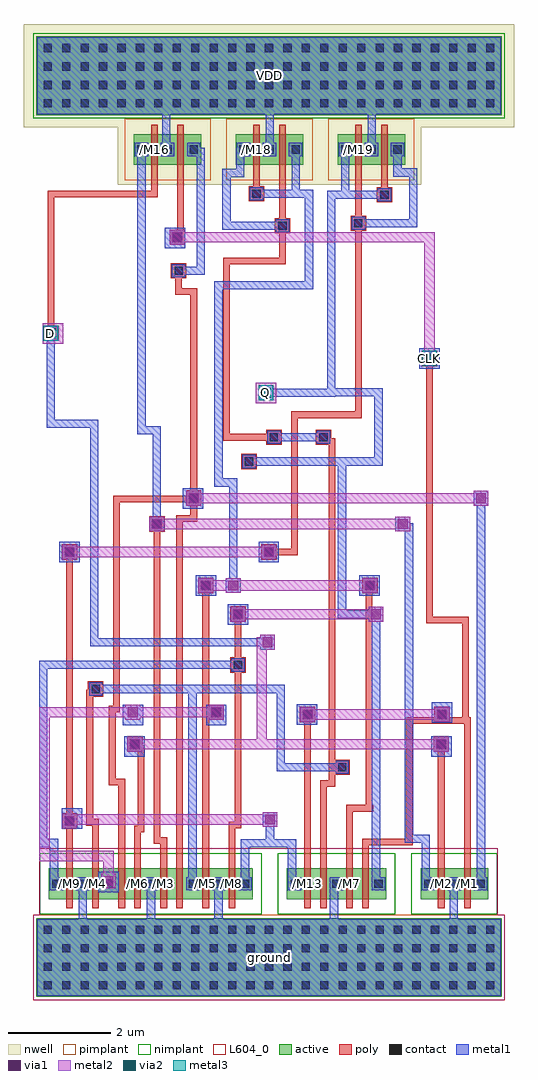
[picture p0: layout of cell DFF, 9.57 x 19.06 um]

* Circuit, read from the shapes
.subckt DFF CLK D Q VDD ground
M1 ground n1 Q ground nfet w=0.6u l=0.13u
M2 n2 n3 ground ground nfet w=0.6u l=0.13u
M3 n4 n5 n2 ground nfet w=0.6u l=0.13u
M4 ground D n4 ground nfet w=0.6u l=0.13u
M5 n6 n7 ground ground nfet w=0.6u l=0.13u
M6 n3 n5 n6 ground nfet w=0.6u l=0.13u
M7 ground n2 n3 ground nfet w=0.6u l=0.13u
M8 n1 Q ground ground nfet w=0.6u l=0.13u
M9 n8 CLK n1 ground nfet w=0.6u l=0.13u
M10 ground n3 n8 ground nfet w=0.6u l=0.13u
M11 n9 n2 ground ground nfet w=0.6u l=0.13u
M12 Q CLK n9 ground nfet w=0.6u l=0.13u
M13 ground D n7 ground nfet w=0.6u l=0.13u
M14 n5 CLK ground ground nfet w=0.6u l=0.13u
M15 VDD D n7 VDD pfet w=0.6u l=0.13u
M16 n5 CLK VDD VDD pfet w=0.6u l=0.13u
M17 VDD n2 n3 VDD pfet w=0.6u l=0.13u
M18 n2 n3 VDD VDD pfet w=0.6u l=0.13u
M19 VDD n1 Q VDD pfet w=0.6u l=0.13u
M20 n1 Q VDD VDD pfet w=0.6u l=0.13u
.ends

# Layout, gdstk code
import gdstk
lib = gdstk.Library(unit=1e-6, precision=1e-09)
def R(c, l, rs):  # rectangles x0, y0, x1, y1
    for r in rs: c.add(gdstk.rectangle(r[:2], r[2:], *l))
def A(c, l, x, y, w, h, nx, ny, dx, dy):  # array of equal rectangles
    R(c, l, [(x+i*dx, y+j*dy, x+i*dx+w, y+j*dy+h) for i in range(nx) for j in range(ny)])
def P(c, l, *ps):  # polygons
    for p in ps: c.add(gdstk.Polygon(p, *l))
nwell = (3, 0)
active = (6, 0)
poly = (17, 0)
pimplant = (25, 0)
nimplant = (26, 0)
contact = (30, 0)
metal1 = (31, 0)
metal2 = (32, 0)
metal3 = (33, 0)
via1 = (51, 0)
via2 = (52, 0)
L604_0 = (604, 0)

poly_m1 = lib.new_cell('POLY_M1')
R(poly_m1, poly, [(-0.15,-0.15,0.15,0.15)])
R(poly_m1, contact, [(-0.08,-0.08,0.08,0.08)])
R(poly_m1, metal1, [(-0.13,-0.13,0.13,0.13)])

m1m2 = lib.new_cell('M1M2')
R(m1m2, metal1, [(-0.145,-0.145,0.145,0.145)])
R(m1m2, metal2, [(-0.145,-0.145,0.145,0.145)])
R(m1m2, via1, [(-0.095,-0.095,0.095,0.095)])

m2m3 = lib.new_cell('M2M3')
R(m2m3, metal2, [(-0.145,-0.145,0.145,0.145)])
R(m2m3, metal3, [(-0.145,-0.145,0.145,0.145)])
R(m2m3, via2, [(-0.095,-0.095,0.095,0.095)])

dff = lib.new_cell('DFF')
R(dff, nwell, [(-1.725,103.125,4.195,104.505), (-3.56,104.245,6.01,106.265)])
A(dff, active, -1.415, 103.515, 1.32, 0.6, 3, 1, 1.99, 0)
R(dff, active, [(-3.32,87.265,5.77,88.805), (-3.075,89.175,0.905,89.775), (1.575,89.175,3.515,89.775), (4.185,89.175,5.505,89.775), (-3.32,104.485,5.77,106.025)])
A(dff, poly, -2.735, 88.995, 0.13, 0.18, 3, 2, 0.51, 0.78)
A(dff, poly, -0.585, 88.995, 0.13, 0.18, 3, 2, 0.51, 0.78)
A(dff, poly, -2.735, 89.175, 0.13, 0.6, 3, 1, 0.51, 0)
A(dff, poly, -0.585, 89.175, 0.13, 0.6, 3, 1, 0.51, 0)
R(dff, poly, [(-1.405,88.995,-1.275,89.175), (-0.895,88.995,-0.765,89.175), (1.915,88.995,2.045,89.175), (2.225,88.995,2.355,89.175), (2.735,88.995,2.865,89.175), (3.045,88.995,3.175,89.175), (4.525,88.995,4.655,89.175), (5.035,88.995,5.165,89.175), (-1.405,89.175,-1.275,89.775), (-0.895,89.175,-0.765,89.775), (1.915,89.175,2.045,89.775), (2.225,89.175,2.355,89.775), (2.735,89.175,2.865,89.775), (3.045,89.175,3.175,89.775), (4.525,89.175,4.655,89.775), (5.035,89.175,5.165,89.775), (-1.405,89.775,-1.275,89.955), (-0.895,89.775,-0.765,89.955), (1.915,89.775,2.045,89.955), (2.225,89.775,2.355,89.955), (2.735,89.775,2.865,89.955), (3.045,89.775,3.175,89.955), (4.525,89.775,4.655,89.955), (5.035,89.775,5.165,89.955), (-2.735,89.825,-2.605,90.765), (-0.075,89.825,0.055,90.335), (1.915,89.825,2.045,92.845), (4.525,89.825,4.655,92.265), (-0.075,90.205,0.055,95.365), (-2.735,90.635,-2.605,96.02), (3.115,90.885,3.26,91.015), (0.555,93.685,0.685,94.805), (3.13,95.235,3.29,95.365), (1.16,95.89,1.785,96.02), (1.425,102.26,1.555,103.465), (2.905,102.31,3.035,103.465), (3.415,102.865,3.545,103.465), (0.915,102.885,1.045,103.465), (-1.075,103.335,-0.945,103.515), (-0.565,103.335,-0.435,103.515), (0.915,103.335,1.045,103.515), (1.425,103.335,1.555,103.515), (2.905,103.335,3.035,103.515), (3.415,103.335,3.545,103.515), (-1.075,103.515,-0.945,104.115), (-0.565,103.515,-0.435,104.115), (0.915,103.515,1.045,104.115), (1.425,103.515,1.555,104.115), (2.905,103.515,3.035,104.115), (3.415,103.515,3.545,104.115), (-1.075,104.115,-0.945,104.295), (-0.565,104.115,-0.435,104.295), (0.915,104.115,1.045,104.295), (1.425,104.115,1.555,104.295), (2.905,104.115,3.035,104.295), (3.415,104.115,3.545,104.295)])
P(dff, poly, [(1.655,95.89),(1.785,95.89),(1.785,98.57),(3.035,98.57),(3.035,102.44),(2.905,102.44),(2.905,98.7),(1.655,98.7)],
  [(0.33,98.13),(1.385,98.13),(1.385,98.26),(0.46,98.26),(0.46,101.575),(1.555,101.575),(1.555,102.39),(1.425,102.39),(1.425,101.705),(0.33,101.705)],
  [(4.295,94.56),(5,94.56),(5,92.6),(5.13,92.6),(5.13,94.69),(4.425,94.69),(4.425,99.8),(4.295,99.8)],
  [(3.115,90.885),(3.245,90.885),(3.245,95.235),(3.26,95.235),(3.26,95.365),(3.115,95.365)],
  [(-3.1,100.16),(-2.97,100.16),(-2.97,102.88),(-0.945,102.88),(-0.945,103.465),(-1.075,103.465),(-1.075,103.01),(-3.1,103.01)],
  [(-0.63,102.035),(-0.435,102.035),(-0.435,103.465),(-0.565,103.465),(-0.565,102.165),(-0.63,102.165)],
  [(-0.585,89.825),(-0.455,89.825),(-0.455,96.545),(-0.18,96.545),(-0.18,96.675),(-0.585,96.675)],
  [(-1.46,92.05),(-1.34,92.05),(-1.34,90.61),(-1.405,90.61),(-1.405,89.825),(-1.275,89.825),(-1.275,90.48),(-1.21,90.48),(-1.21,92.18),(-1.46,92.18)],
  [(-1.03,90.255),(-0.895,90.255),(-0.895,89.825),(-0.765,89.825),(-0.765,90.385),(-0.9,90.385),(-0.9,96.565),(-1.03,96.565)],
  [(2.735,89.825),(2.865,89.825),(2.865,90.885),(3.245,90.885),(3.245,91.015),(2.735,91.015)],
  [(-2.34,90.61),(-2.225,90.61),(-2.225,89.825),(-2.095,89.825),(-2.095,90.74),(-2.21,90.74),(-2.21,93.13),(-2.095,93.13),(-2.095,93.26),(-2.34,93.26)],
  [(0.435,89.825),(0.565,89.825),(0.565,90.56),(0.685,90.56),(0.685,93.815),(0.555,93.815),(0.555,90.69),(0.435,90.69)],
  [(3.045,89.825),(3.175,89.825),(3.175,90.225),(4.035,90.225),(4.035,92.6),(5.035,92.6),(5.035,89.825),(5.165,89.825),(5.165,92.73),(3.905,92.73),(3.905,90.355),(3.045,90.355)],
  [(2.225,89.825),(2.355,89.825),(2.355,91.37),(2.52,91.37),(2.52,98.175),(2.225,98.175),(2.225,98.045),(2.39,98.045),(2.39,91.5),(2.225,91.5)],
  [(-0.605,100.975),(-0.31,100.975),(-0.31,96.545),(-0.18,96.545),(-0.18,101.105),(-0.475,101.105),(-0.475,101.51),(-0.605,101.51)],
  [(-1.9,91.395),(-1.715,91.395),(-1.715,89.825),(-1.585,89.825),(-1.585,91.525),(-1.77,91.525),(-1.77,92.825),(-1.685,92.825),(-1.685,96.925),(-0.18,96.925),(-0.18,97.055),(-1.815,97.055),(-1.815,92.955),(-1.9,92.955)])
A(dff, pimplant, -1.595, 103.215, 1.68, 1.2, 3, 1, 1.99, 0)
R(dff, pimplant, [(-3.38,87.205,5.83,88.865)])
R(dff, nimplant, [(-3.255,88.875,1.085,90.075), (1.395,88.875,3.695,90.075), (4.005,88.875,5.685,90.075), (-3.38,104.425,5.83,106.085)])
A(dff, contact, -3.175, 87.415, 0.16, 0.16, 25, 4, 0.36, 0.36)
A(dff, contact, -3.005, 89.395, 0.16, 0.16, 3, 1, 0.51, 0)
A(dff, contact, -0.345, 89.395, 0.16, 0.16, 3, 1, 0.51, 0)
A(dff, contact, 1.645, 89.395, 0.16, 0.16, 3, 1, 0.82, 0)
A(dff, contact, 4.255, 89.395, 0.16, 0.16, 3, 1, 0.51, 0)
A(dff, contact, -1.345, 103.735, 0.16, 0.16, 3, 1, 0.51, 0)
A(dff, contact, 0.645, 103.735, 0.16, 0.16, 3, 1, 0.51, 0)
A(dff, contact, 2.635, 103.735, 0.16, 0.16, 3, 1, 0.51, 0)
A(dff, contact, -3.175, 104.635, 0.16, 0.16, 25, 4, 0.36, 0.36)
R(dff, contact, [(-1.165,89.395,-1.005,89.555)])
A(dff, metal1, -3.055, 89.345, 0.26, 0.26, 3, 1, 0.51, 0)
A(dff, metal1, -0.395, 89.345, 0.26, 0.26, 3, 1, 0.51, 0)
A(dff, metal1, 1.595, 89.345, 0.26, 0.26, 3, 1, 0.82, 0)
A(dff, metal1, 4.205, 89.345, 0.26, 0.26, 3, 1, 0.51, 0)
A(dff, metal1, -1.395, 103.685, 0.26, 0.26, 3, 1, 0.51, 0)
A(dff, metal1, 0.595, 103.685, 0.26, 0.26, 3, 1, 0.51, 0)
A(dff, metal1, 2.585, 103.685, 0.26, 0.26, 3, 1, 0.51, 0)
R(dff, metal1, [(-3.3,87.285,5.75,88.785), (-3.3,87.285,5.75,88.785), (-2.495,88.625,-2.335,89.505), (-1.16,88.625,-1,89.505), (0.16,88.625,0.32,89.505), (2.415,88.625,2.575,89.505), (4.75,88.625,4.91,89.505), (-2.105,89.305,-1.705,89.705), (-1.215,89.345,-0.955,89.605), (-1.99,89.445,-1.83,89.61), (-0.35,89.445,-0.19,93.36), (5.285,89.445,5.445,97.085), (1.165,90.185,1.325,90.81), (-2.825,90.545,-2.425,90.945), (-1.605,91.955,-1.205,92.355), (4.395,91.955,4.795,92.355), (-1.635,92.57,-1.235,92.97), (-0.005,92.57,0.395,92.97), (1.77,92.58,2.17,92.98), (4.405,92.62,4.805,93.02), (-2.24,93.2,-0.19,93.36), (0.42,94.535,0.82,94.935), (-0.21,95.1,0.19,95.5), (2.99,95.1,3.39,95.5), (-2.875,95.75,-2.475,96.15), (1.02,95.75,1.42,96.15), (-0.455,96.8,-0.055,97.2), (0.755,97.64,2.73,97.8), (1.24,98.115,2.37,98.275), (4.155,99.535,4.555,99.935), (-0.815,101.885,-0.415,102.285), (0.315,102.245,1.57,102.405), (2.635,102.85,2.795,103.02), (2.635,102.85,3.56,103.01), (2.635,102.86,2.795,103.845), (0.9,102.87,1.825,103.03), (1.665,102.87,1.825,103.845), (-0.86,103.785,-0.7,104.665), (1.16,103.785,1.32,104.665), (3.15,103.785,3.31,104.665), (-3.3,104.505,5.75,106.005), (-3.3,104.505,5.75,106.005)])
P(dff, metal1, [(-3.115,98.38),(-2.27,98.38),(-2.27,94.11),(1.275,94.11),(1.275,94.27),(-2.11,94.27),(-2.11,98.54),(-2.955,98.54),(-2.955,100.305),(-3.115,100.305)],
  [(2.89,102.295),(4.125,102.295),(4.125,103.445),(3.815,103.445),(3.815,103.845),(3.655,103.845),(3.655,103.285),(3.965,103.285),(3.965,102.455),(2.89,102.455)],
  [(0.675,89.445),(0.835,89.445),(0.835,90.185),(1.325,90.185),(1.325,90.345),(0.675,90.345)],
  [(1.085,98.985),(2.52,98.985),(2.52,99.155),(2.36,99.155),(2.36,99.145),(1.085,99.145)],
  [(2.36,98.995),(2.52,98.995),(2.52,102.85),(2.795,102.85),(2.795,103.01),(2.36,103.01)],
  [(2.57,94.66),(3.235,94.66),(3.235,89.445),(3.395,89.445),(3.395,94.82),(2.73,94.82),(2.73,97.8),(2.57,97.8)],
  [(3.755,96.355),(3.88,96.355),(3.88,90.275),(4.205,90.275),(4.205,89.445),(4.365,89.445),(4.365,90.435),(4.04,90.435),(4.04,96.515),(3.755,96.515)],
  [(0.315,102.245),(0.475,102.245),(0.475,103.275),(0.745,103.275),(0.745,103.685),(0.755,103.685),(0.755,103.845),(0.585,103.845),(0.585,103.435),(0.315,103.435)],
  [(-0.62,101.365),(-0.03,101.365),(-0.03,103.845),(-0.275,103.845),(-0.275,103.685),(-0.19,103.685),(-0.19,101.525),(-0.62,101.525)],
  [(1.165,90.185),(1.595,90.185),(1.595,89.445),(1.755,89.445),(1.755,90.345),(1.165,90.345)],
  [(2.36,98.995),(3.285,98.995),(3.285,97.8),(2.57,97.8),(2.57,97.64),(3.445,97.64),(3.445,99.155),(2.36,99.155)],
  [(-3.265,90.19),(-3.055,90.19),(-3.055,89.445),(-2.895,89.445),(-2.895,90.35),(-3.105,90.35),(-3.105,93.67),(0.7,93.67),(0.7,93.83),(-3.265,93.83)],
  [(-0.35,93.2),(1.375,93.2),(1.375,91.67),(2.735,91.67),(2.735,91.83),(1.535,91.83),(1.535,93.36),(-0.35,93.36)],
  [(0.16,97.23),(0.445,97.23),(0.445,95.22),(0.605,95.22),(0.605,97.39),(0.32,97.39),(0.32,101.085),(2.085,101.085),(2.085,103.03),(1.665,103.03),(1.665,102.87),(1.925,102.87),(1.925,101.245),(0.16,101.245)],
  [(-1.345,98.25),(-1.045,98.25),(-1.045,96.42),(-0.885,96.42),(-0.885,98.41),(-1.185,98.41),(-1.185,103.845),(-1.345,103.845)])
R(dff, metal2, [(-1.495,92.1,1.185,92.3), (0.985,92.1,4.69,92.3), (1.88,92.68,4.705,92.88), (0.52,94.64,3.415,94.84), (-0.11,95.2,0.625,95.4), (0.425,95.2,3.295,95.4), (-2.77,95.855,1.325,96.055), (-1.065,96.4,3.935,96.6), (-0.345,96.905,5.465,97.105), (0.965,98.86,1.365,99.26), (-3.19,100.02,-2.79,100.42)])
P(dff, metal2, [(-0.665,102),(4.26,102),(4.26,99.635),(4.46,99.635),(4.46,102.2),(-0.665,102.2)],
  [(-3.26,89.915),(-2.01,89.915),(-2.01,89.43),(-1.81,89.43),(-1.81,90.115),(-3.06,90.115),(-3.06,92.725),(0.295,92.725),(0.295,92.925),(-3.26,92.925)],
  [(0.985,92.1),(1.185,92.1),(1.185,94.09),(1.295,94.09),(1.295,94.29),(0.985,94.29)],
  [(-2.77,90.6),(-2.57,90.6),(-2.57,90.63),(1.345,90.63),(1.345,90.83),(-2.77,90.83)])
R(dff, metal3, [(1.065,98.965,1.265,99.165), (4.26,99.635,4.46,99.835), (-3.135,100.125,-2.935,100.325)])
R(dff, L604_0, [(-3.38,87.205,5.83,88.865), (-3.265,88.785,5.695,90.165)])
dff.add(gdstk.Reference(poly_m1, (0.98,102.95)))
dff.add(gdstk.Reference(poly_m1, (3.48,102.93)))
dff.add(gdstk.Reference(poly_m1, (2.97,102.375)))
dff.add(gdstk.Reference(poly_m1, (1.49,102.325)))
dff.add(gdstk.Reference(m1m2, (1.165,99.065)))
dff.add(gdstk.Reference(m2m3, (1.165,99.065)))
dff.add(gdstk.Reference(poly_m1, (-0.245,97.005)))
dff.add(gdstk.Reference(m1m2, (5.365,97.005)))
dff.add(gdstk.Reference(m1m2, (-0.245,97.005)))
dff.add(gdstk.Reference(poly_m1, (4.36,99.735)))
dff.add(gdstk.Reference(m1m2, (4.36,99.735)))
dff.add(gdstk.Reference(m2m3, (4.36,99.735)))
dff.add(gdstk.Reference(poly_m1, (0.835,97.72)))
dff.add(gdstk.Reference(poly_m1, (2.29,98.195)))
dff.add(gdstk.Reference(poly_m1, (1.32,98.195)))
dff.add(gdstk.Reference(m1m2, (-0.565,102.1)))
dff.add(gdstk.Reference(m1m2, (0.62,94.74)))
dff.add(gdstk.Reference(poly_m1, (-0.565,102.1)))
dff.add(gdstk.Reference(poly_m1, (-3.035,100.225)))
dff.add(gdstk.Reference(m1m2, (-3.035,100.225)))
dff.add(gdstk.Reference(m2m3, (-3.035,100.225)))
dff.add(gdstk.Reference(poly_m1, (-0.54,101.445)))
dff.add(gdstk.Reference(poly_m1, (-0.965,96.5)))
dff.add(gdstk.Reference(m1m2, (-0.965,96.5)))
dff.add(gdstk.Reference(m1m2, (3.835,96.5)))
dff.add(gdstk.Reference(poly_m1, (1.225,95.955)))
dff.add(gdstk.Reference(m1m2, (1.225,95.955)))
dff.add(gdstk.Reference(poly_m1, (-2.67,95.955)))
dff.add(gdstk.Reference(m1m2, (-2.67,95.955)))
dff.add(gdstk.Reference(poly_m1, (4.59,92.2)))
dff.add(gdstk.Reference(m1m2, (4.59,92.2)))
dff.add(gdstk.Reference(poly_m1, (-1.395,92.2)))
dff.add(gdstk.Reference(m1m2, (-1.395,92.2)))
dff.add(gdstk.Reference(m1m2, (-0.01,95.3)))
dff.add(gdstk.Reference(poly_m1, (-0.01,95.3)))
dff.add(gdstk.Reference(poly_m1, (3.195,95.3)))
dff.add(gdstk.Reference(m1m2, (3.195,95.3)))
dff.add(gdstk.Reference(m1m2, (3.315,94.74)))
dff.add(gdstk.Reference(poly_m1, (0.62,94.74)))
dff.add(gdstk.Reference(m1m2, (1.245,90.73)))
dff.add(gdstk.Reference(poly_m1, (-2.67,90.7)))
dff.add(gdstk.Reference(m1m2, (-2.67,90.7)))
dff.add(gdstk.Reference(poly_m1, (1.98,92.78)))
dff.add(gdstk.Reference(m1m2, (1.98,92.78)))
dff.add(gdstk.Reference(poly_m1, (4.605,92.78)))
dff.add(gdstk.Reference(m1m2, (4.605,92.78)))
dff.add(gdstk.Reference(poly_m1, (2.655,91.75)))
dff.add(gdstk.Reference(poly_m1, (0.62,93.75)))
dff.add(gdstk.Reference(poly_m1, (-2.16,93.28)))
dff.add(gdstk.Reference(m1m2, (-1.435,92.825)))
dff.add(gdstk.Reference(poly_m1, (0.195,92.825)))
dff.add(gdstk.Reference(m1m2, (0.195,92.825)))
dff.add(gdstk.Reference(m1m2, (-1.91,89.53)))
dff.add(gdstk.Reference(m1m2, (1.195,94.19)))
dff.add(gdstk.Reference(m1m2, (0.525,95.3)))
dff.add(gdstk.Label('/M16', (-1.01,103.815), layer=17, texttype=0))
dff.add(gdstk.Label('/M15', (-0.5,103.815), layer=17, texttype=0))
dff.add(gdstk.Label('/M18', (0.98,103.815), layer=17, texttype=0))
dff.add(gdstk.Label('/M17', (1.49,103.815), layer=17, texttype=0))
dff.add(gdstk.Label('/M19', (2.97,103.815), layer=17, texttype=0))
dff.add(gdstk.Label('/M20', (3.48,103.815), layer=17, texttype=0))
dff.add(gdstk.Label('/M9', (-2.67,89.475), layer=17, texttype=0))
dff.add(gdstk.Label('/M4', (-2.16,89.475), layer=17, texttype=0))
dff.add(gdstk.Label('/M12', (-1.65,89.475), layer=17, texttype=0))
dff.add(gdstk.Label('/M6', (-1.34,89.475), layer=17, texttype=0))
dff.add(gdstk.Label('/M3', (-0.83,89.475), layer=17, texttype=0))
dff.add(gdstk.Label('/M11', (-0.52,89.475), layer=17, texttype=0))
dff.add(gdstk.Label('/M5', (-0.01,89.475), layer=17, texttype=0))
dff.add(gdstk.Label('/M8', (0.5,89.475), layer=17, texttype=0))
dff.add(gdstk.Label('/M13', (1.98,89.475), layer=17, texttype=0))
dff.add(gdstk.Label('/M10', (2.29,89.475), layer=17, texttype=0))
dff.add(gdstk.Label('/M7', (2.8,89.475), layer=17, texttype=0))
dff.add(gdstk.Label('/M14', (3.11,89.475), layer=17, texttype=0))
dff.add(gdstk.Label('/M2', (4.59,89.475), layer=17, texttype=0))
dff.add(gdstk.Label('/M1', (5.1,89.475), layer=17, texttype=0))
dff.add(gdstk.Label('CLK', (4.36,99.735), layer=133, texttype=0))
dff.add(gdstk.Label('Q', (1.165,99.065), layer=133, texttype=0))
dff.add(gdstk.Label('D', (-3.035,100.225), layer=133, texttype=0))
dff.add(gdstk.Label('VDD', (1.225,105.255), layer=131, texttype=0))
dff.add(gdstk.Label('ground', (1.225,88.035), layer=131, texttype=0))

lib.write_gds('DFF.gds')
